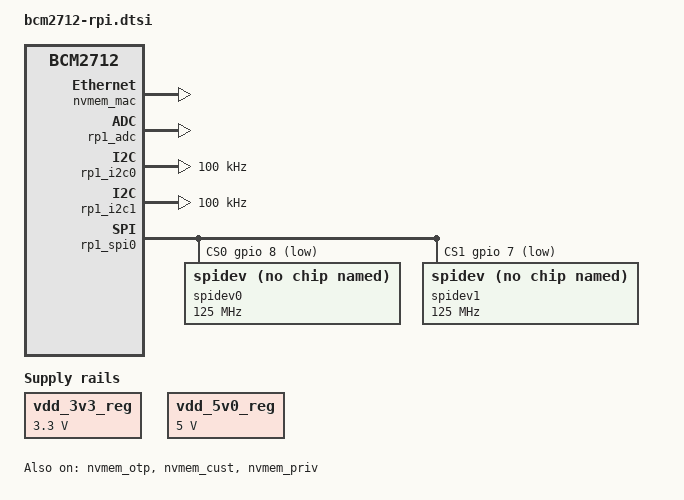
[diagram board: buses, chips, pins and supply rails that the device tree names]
// SPDX-License-Identifier: GPL-2.0

#include <dt-bindings/power/raspberrypi-power.h>

&soc {
	firmware: firmware {
		compatible = "raspberrypi,bcm2835-firmware", "simple-mfd";
		#address-cells = <1>;
		#size-cells = <1>;

		mboxes = <&mailbox>;
		dma-ranges;

		firmware_clocks: clocks {
			compatible = "raspberrypi,firmware-clocks";
			#clock-cells = <1>;
		};

		reset: reset {
			compatible = "raspberrypi,firmware-reset";
			#reset-cells = <1>;
		};

		vcio: vcio {
			compatible = "raspberrypi,vcio";
		};
	};

	power: power {
		compatible = "raspberrypi,bcm2835-power";
		firmware = <&firmware>;
		#power-domain-cells = <1>;
	};

	fb: fb {
		compatible = "brcm,bcm2708-fb";
		firmware = <&firmware>;
		status = "okay";
	};

	rpi_rtc: rpi_rtc {
		compatible = "raspberrypi,rpi-rtc";
		firmware = <&firmware>;
		status = "okay";
		trickle-charge-microvolt = <0>;
	};

	nvmem_otp: nvmem_otp {
		compatible = "raspberrypi,rpi-otp";
		firmware = <&firmware>;
		reg = <0 192>;
		status = "okay";
	};

	nvmem_cust: nvmem_cust {
		compatible = "raspberrypi,rpi-otp";
		firmware = <&firmware>;
		reg = <1 8>;
		status = "okay";
	};

	nvmem_mac: nvmem_mac {
		compatible = "raspberrypi,rpi-otp";
		firmware = <&firmware>;
		reg = <2 6>;
		status = "okay";
	};

	nvmem_priv: nvmem_priv {
		compatible = "raspberrypi,rpi-otp";
		firmware = <&firmware>;
		reg = <3 16>;
		status = "okay";
	};

	/* Define these notional regulators for use by overlays, etc. */
	vdd_3v3_reg: fixedregulator_3v3 {
		compatible = "regulator-fixed";
		regulator-always-on;
		regulator-max-microvolt = <3300000>;
		regulator-min-microvolt = <3300000>;
		regulator-name = "3v3";
	};

	vdd_5v0_reg: fixedregulator_5v0 {
		compatible = "regulator-fixed";
		regulator-always-on;
		regulator-max-microvolt = <5000000>;
		regulator-min-microvolt = <5000000>;
		regulator-name = "5v0";
	};
};

/ {
	__overrides__ {
		arm_freq;
		axiperf = <&axiperf>,"status";

		nvmem_cust_rw = <&nvmem_cust>,"rw?";
		nvmem_priv_rw = <&nvmem_priv>,"rw?";
		nvmem_mac_rw = <&nvmem_mac>,"rw?";
		strict_gpiod = <&chosen>, "bootargs=pinctrl_rp1.strict_gpiod=y";
	};
};

pciex1: &pcie1 { };
pciex4: &pcie2 { };

&dma32 {
	/* The VPU firmware uses DMA channel 11 for VCHIQ */
	brcm,dma-channel-mask = <0x03f>;
};

&dma40 {
	/* The VPU firmware DMA channel 11 for VCHIQ */
	brcm,dma-channel-mask = <0x07c0>;
};

&hdmi0 {
	dmas = <&dma40 (10|(1<<30)|(1<<24)|(10<<16)|(15<<20))>;
};

&hdmi1 {
	dmas = <&dma40 (17|(1<<30)|(1<<24)|(10<<16)|(15<<20))>;
};

&spi10 {
	dmas = <&dma40 6>, <&dma40 7>;
	dma-names = "tx", "rx";
};

&usb {
	power-domains = <&power RPI_POWER_DOMAIN_USB>;
};

&rmem {
	/*
	 * RPi5's co-processor will copy the board's bootloader configuration
	 * into memory for the OS to consume. It'll also update this node with
	 * its placement information.
	 */
	blconfig: nvram@0 {
		compatible = "raspberrypi,bootloader-config", "nvmem-rmem";
		#address-cells = <1>;
		#size-cells = <1>;
		reg = <0x0 0x0 0x0>;
		no-map;
		status = "disabled";
	};
	/*
	 * RPi5 will copy the binary public key blob (if present) from the bootloader
	 * into memory for use by the OS.
	 */
	blpubkey: nvram@1 {
		compatible = "raspberrypi,bootloader-public-key", "nvmem-rmem";
		#address-cells = <1>;
		#size-cells = <1>;
		reg = <0x0 0x0 0x0>;
		no-map;
		status = "disabled";
	};
};

&rp1_adc {
	status = "okay";
};

/* Add some gpiomem nodes to make the devices accessible to userspace.
 * /dev/gpiomem<n> should expose the registers for the interface with DT alias
 * gpio<n>.
 */

&rp1 {
	gpiomem@d0000 {
		/* Export IO_BANKs, RIO_BANKs and PADS_BANKs to userspace */
		compatible = "raspberrypi,gpiomem";
		reg = <0xc0 0x400d0000  0x0 0x30000>;
		chardev-name = "gpiomem0";
	};
};

&soc {
	gpiomem@7d508500 {
		compatible = "raspberrypi,gpiomem";
		reg = <0x7d508500 0x40>;
		chardev-name = "gpiomem1";
	};

	gpiomem@7d517c00 {
		compatible = "raspberrypi,gpiomem";
		reg = <0x7d517c00 0x40>;
		chardev-name = "gpiomem2";
	};

	gpiomem@7d504100 {
		compatible = "raspberrypi,gpiomem";
		reg = <0x7d504100 0x20>;
		chardev-name = "gpiomem3";
	};

	gpiomem@7d510700 {
		compatible = "raspberrypi,gpiomem";
		reg = <0x7d510700 0x20>;
		chardev-name = "gpiomem4";
	};

	sound: sound {
		status = "disabled";
	};
};

i2c0: &rp1_i2c0 { };
i2c1: &rp1_i2c1 { };
i2c2: &rp1_i2c2 { };
i2c3: &rp1_i2c3 { };
i2c4: &rp1_i2c4 { };
i2c5: &rp1_i2c5 { };
i2c6: &rp1_i2c6 { };
i2s:  &rp1_i2s0 { };
i2s_clk_producer: &rp1_i2s0 { };
i2s_clk_consumer: &rp1_i2s1 { };
pwm0: &rp1_pwm0 { };
pwm1: &rp1_pwm1 { };
pwm: &pwm0 { };
spi0: &rp1_spi0 { };
spi1: &rp1_spi1 { };
spi2: &rp1_spi2 { };
spi3: &rp1_spi3 { };
spi4: &rp1_spi4 { };
spi5: &rp1_spi5 { };

uart0_pins: &rp1_uart0_14_15 {};
uart0_ctsrts_pins: &rp1_uart0_ctsrts_16_17 {};
uart0: &rp1_uart0 {
	pinctrl-0 = <&uart0_pins>;
};

uart1_pins: &rp1_uart1_0_1 {};
uart1_ctsrts_pins: &rp1_uart1_ctsrts_2_3 {};
uart1: &rp1_uart1 { };

uart2_pins: &rp1_uart2_4_5 {};
uart2_ctsrts_pins: &rp1_uart2_ctsrts_6_7 {};
uart2: &rp1_uart2 { };

uart3_pins: &rp1_uart3_8_9 {};
uart3_ctsrts_pins: &rp1_uart3_ctsrts_10_11 {};
uart3: &rp1_uart3 { };

uart4_pins: &rp1_uart4_12_13 {};
uart4_ctsrts_pins: &rp1_uart4_ctsrts_14_15 {};
uart4: &rp1_uart4 { };

i2c0_pins: &rp1_i2c0_0_1 {};
i2c_vc: &i2c0 {      // This is pins 27,28 on the header (not MIPI)
	pinctrl-0 = <&i2c0_pins>;
	pinctrl-names = "default";
	clock-frequency = <100000>;
};

i2c1_pins: &rp1_i2c1_2_3 {};
i2c_arm: &i2c1 {
	pinctrl-names = "default";
	pinctrl-0 = <&i2c1_pins>;
	clock-frequency = <100000>;
};

i2c2_pins: &rp1_i2c2_4_5 {};
&i2c2 {
	pinctrl-names = "default";
	pinctrl-0 = <&i2c2_pins>;
};

i2c3_pins: &rp1_i2c3_6_7 {};
&i2c3 {
	pinctrl-names = "default";
	pinctrl-0 = <&i2c3_pins>;
};

&i2s_clk_producer {
	pinctrl-names = "default";
	pinctrl-0 = <&rp1_i2s0_18_21>;
};

&i2s_clk_consumer {
	pinctrl-names = "default";
	pinctrl-0 = <&rp1_i2s1_18_21>;
};

spi0_pins: &rp1_spi0_gpio9 {};
spi0_cs_pins: &rp1_spi0_cs_gpio7 {};

&spi0 {
	pinctrl-names = "default";
	pinctrl-0 = <&spi0_pins &spi0_cs_pins>;
	cs-gpios = <&gpio 8 1>, <&gpio 7 1>;

	spidev0: spidev@0 {
		compatible = "spidev";
		reg = <0>;	/* CE0 */
		#address-cells = <1>;
		#size-cells = <0>;
		spi-max-frequency = <125000000>;
	};

	spidev1: spidev@1 {
		compatible = "spidev";
		reg = <1>;	/* CE1 */
		#address-cells = <1>;
		#size-cells = <0>;
		spi-max-frequency = <125000000>;
	};
};

spi2_pins: &rp1_spi2_gpio1 {};
&spi2 {
	pinctrl-names = "default";
	pinctrl-0 = <&spi2_pins>;
};

spi3_pins: &rp1_spi3_gpio5 {};
&spi3 {
	pinctrl-names = "default";
	pinctrl-0 = <&spi3_pins>;
};

spi4_pins: &rp1_spi4_gpio9 {};
&spi4 {
	pinctrl-names = "default";
	pinctrl-0 = <&spi4_pins>;
};

spi5_pins: &rp1_spi5_gpio13 {};
&spi5 {
	pinctrl-names = "default";
	pinctrl-0 = <&spi5_pins>;
};
